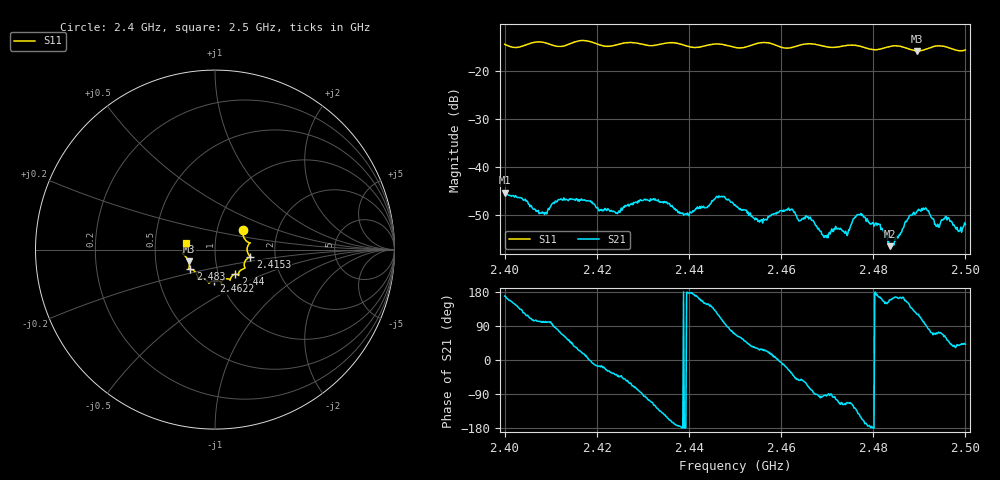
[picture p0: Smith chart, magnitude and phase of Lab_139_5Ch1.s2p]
# Hz S RI R 50
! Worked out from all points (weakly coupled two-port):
!   601 points, 2.4 GHz to 2.5 GHz, reference 50 ohm
!   highest |S21| = -45.40 dB at 2.4 GHz (marker M1); lowest = -56.5 dB at 2.4837 GHz (marker M2)
!   lowest |S11| = -15.9 dB at 2.4895 GHz (marker M3), VSWR 1.38, Z = 36.9 - j4.99 ohm
!   |S11| at or under -10 dB: start of sweep to end of sweep
!   S12 and S22 are empty: the file has one direction only
!   S11 on the Smith chart (normalised r, x): 2.4 GHz: 1.33, +0.29; 2.4153 GHz: 1.48, -0.12; 2.44 GHz: 1.20, -0.34; 2.4622 GHz: 0.93, -0.33; 2.483 GHz: 0.74, -0.17; 2.5 GHz: 0.72, +0.06
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2.4e9  0.1553 0.1066  -0.00527 0.00104  0 0  0 0
2.408167e9  0.195 0.0371  -0.000584 0.00335  0 0  0 0
2.415333e9  0.1964 -0.0385  0.0037 0.0025  0 0  0 0
2.416667e9  0.2021 -0.0427  0.00435 0.00163  0 0  0 0
2.4245e9  0.1633 -0.092  0.00238 -0.00221  0 0  0 0
2.433333e9  0.1313 -0.1334  -0.00288 -0.00352  0 0  0 0
2.44e9  0.114 -0.137  -0.00309 0.00019  0 0  0 0
2.4465e9  0.0847 -0.1703  -0.00229 0.00444  0 0  0 0
2.45e9  0.0645 -0.1627  0.00153 0.00372  0 0  0 0
2.4555e9  0.0373 -0.192  0.00244 0.00134  0 0  0 0
2.462167e9  -0.0073 -0.1738  0.00297 -0.00199  0 0  0 0
2.466667e9  -0.0343 -0.1876  0.000492 -0.00272  0 0  0 0
2.469667e9  -0.0449 -0.1725  -7.08e-05 -0.00191  0 0  0 0
2.474333e9  -0.0893 -0.1605  -0.00073 -0.00178  0 0  0 0
2.477167e9  -0.0965 -0.152  -0.00272 -0.00162  0 0  0 0
2.483e9  -0.1378 -0.1096  -0.00168 0.00102  0 0  0 0
2.483333e9  -0.1404 -0.1095  -0.00149 0.00076  0 0  0 0
2.483667e9  -0.1424 -0.1093  -0.0014 0.000523  0 0  0 0
2.4895e9  -0.1466 -0.0658  -0.00175 0.00298  0 0  0 0
2.4915e9  -0.1634 -0.0395  -3.11e-06 0.00369  0 0  0 0
2.493833e9  -0.18 -0.0234  0.000866 0.00226  0 0  0 0
2.5e9  -0.1597 0.0393  0.00188 0.00166  0 0  0 0
